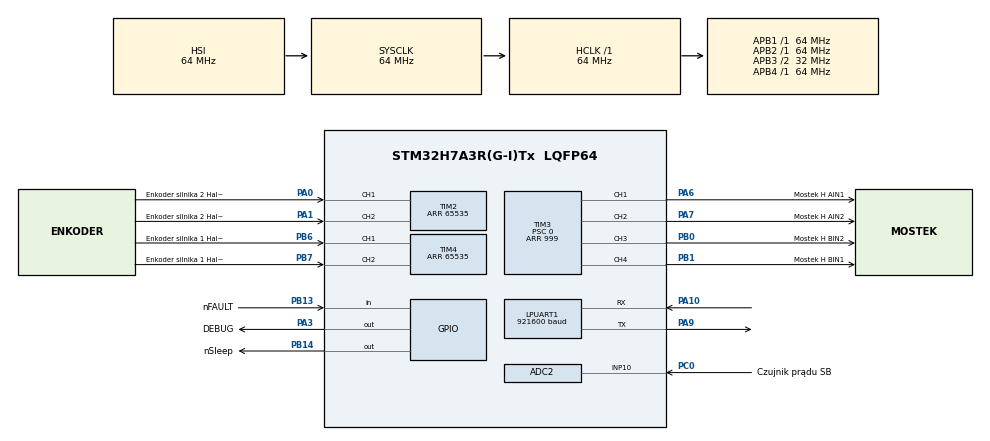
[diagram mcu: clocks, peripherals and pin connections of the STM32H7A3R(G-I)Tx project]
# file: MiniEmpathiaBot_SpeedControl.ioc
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ADC2.Channel-0\#ChannelRegularConversion=ADC_CHANNEL_10
ADC2.ClockPrescaler=ADC_CLOCK_ASYNC_DIV1
ADC2.ContinuousConvMode=DISABLE
ADC2.ConversionDataManagement=ADC_CONVERSIONDATA_DMA_CIRCULAR
ADC2.ExternalTrigConv=ADC_EXTERNALTRIG_T15_TRGO
ADC2.NbrOfConversionFlag=1
ADC2.OversamplingMode=ENABLE
ADC2.Ratio=16
ARM.CMSIS.5.7.0.CMSISJjCORE=true
ARM.CMSIS.5.7.0.CMSISJjDSP=Library
Dma.ADC2.0.Direction=DMA_PERIPH_TO_MEMORY
Dma.ADC2.0.EventEnable=DISABLE
Dma.ADC2.0.FIFOMode=DMA_FIFOMODE_DISABLE
Dma.ADC2.0.Instance=DMA1_Stream0
Dma.ADC2.0.MemDataAlignment=DMA_MDATAALIGN_WORD
Dma.ADC2.0.MemInc=DMA_MINC_ENABLE
Dma.ADC2.0.Mode=DMA_CIRCULAR
Dma.ADC2.0.PeriphDataAlignment=DMA_PDATAALIGN_WORD
Dma.ADC2.0.PeriphInc=DMA_PINC_DISABLE
Dma.ADC2.0.Polarity=HAL_DMAMUX_REQ_GEN_RISING
Dma.ADC2.0.Priority=DMA_PRIORITY_LOW
Dma.ADC2.0.RequestNumber=1
Dma.ADC2.0.SignalID=NONE
Dma.ADC2.0.SyncEnable=DISABLE
Dma.ADC2.0.SyncPolarity=HAL_DMAMUX_SYNC_NO_EVENT
Dma.ADC2.0.SyncRequestNumber=1
Dma.ADC2.0.SyncSignalID=NONE
Dma.Request0=ADC2
LPUART1.BaudRate=921600
Mcu.Family=STM32H7
Mcu.Name=STM32H7A3R(G-I)Tx
Mcu.Package=LQFP64
NVIC.DMA1_Stream0_IRQn=true\:0\:0\:false\:false\:true\:false\:true\:true
NVIC.LPUART1_IRQn=true\:0\:0\:false\:false\:true\:true\:true\:true
NVIC.PriorityGroup=NVIC_PRIORITYGROUP_4
NVIC.TIM15_IRQn=true\:0\:0\:false\:false\:true\:true\:true\:true
PA0.GPIO_Label=Enkoder silnika 2 Hall 1
PA0.Signal=S_TIM2_CH1_ETR
PA1.GPIO_Label=Enkoder silnika 2 Hall 2
PA1.Signal=S_TIM2_CH2
PA10.Mode=Asynchronous
PA10.Signal=LPUART1_RX
PA3.GPIO_Label=DEBUG
PA3.GPIO_Speed=GPIO_SPEED_FREQ_MEDIUM
PA3.Signal=GPIO_Output
PA6.GPIO_Label=Mostek H AIN1
PA6.Signal=S_TIM3_CH1
PA7.GPIO_Label=Mostek H AIN2
PA7.Signal=S_TIM3_CH2
PA8.Signal=I2C3_SCL
PA9.Mode=Asynchronous
PA9.Signal=LPUART1_TX
PB0.GPIO_Label=Mostek H BIN2
PB0.Signal=S_TIM3_CH3
PB1.GPIO_Label=Mostek H BIN1
PB1.Signal=S_TIM3_CH4
PB13.GPIO_Label=nFAULT
PB13.GPIO_PuPd=GPIO_PULLUP
PB13.Signal=GPIO_Input
PB14.GPIO_Label=nSleep
PB14.Signal=GPIO_Output
PB6.GPIO_Label=Enkoder silnika 1 Hall 1
PB6.Signal=S_TIM4_CH1
PB7.GPIO_Label=Enkoder silnika 1 Hall 2
PB7.Signal=S_TIM4_CH2
PC0.GPIO_Label=Czujnik pr\u0105du SB
PC0.Signal=ADCx_INP10
PC1.GPIO_Label=Czujnik pr\u0105du SA
PC1.Signal=ADCx_INP11
PC9.Signal=I2C3_SDA
ProjectManager.HeapSize=0x200
ProjectManager.StackSize=0x400
ProjectManager.TargetToolchain=STM32CubeIDE
RCC.ADCFreq_Value=50000000
RCC.APB1Freq_Value=64000000
RCC.APB2Freq_Value=64000000
RCC.APB3Freq_Value=32000000
RCC.APB4Freq_Value=64000000
RCC.CDPPRE=RCC_APB3_DIV2
RCC.CortexFreq_Value=64000000
RCC.DIVM2=16
RCC.DIVN2=50
RCC.DIVP2=4
RCC.HCLKFreq_Value=64000000
RCC.SYSCLKFreq_VALUE=64000000
RCC.USBFreq_Value=129000000
SH.ADCx_INP10.0=ADC2_INP10,IN10-Single-Ended
SH.ADCx_INP11.0=ADC1_INP11
SH.S_TIM2_CH1_ETR.0=TIM2_CH1,Encoder_Interface
SH.S_TIM2_CH2.0=TIM2_CH2,Encoder_Interface
SH.S_TIM3_CH1.0=TIM3_CH1,PWM Generation1 CH1
SH.S_TIM3_CH2.0=TIM3_CH2,PWM Generation2 CH2
SH.S_TIM3_CH3.0=TIM3_CH3,PWM Generation3 CH3
SH.S_TIM3_CH4.0=TIM3_CH4,PWM Generation4 CH4
SH.S_TIM4_CH1.0=TIM4_CH1,Encoder_Interface
SH.S_TIM4_CH2.0=TIM4_CH2,Encoder_Interface
TIM15.Period=9999
TIM15.Prescaler=63
TIM15.TIM_MasterOutputTrigger=TIM_TRGO_UPDATE
TIM2.EncoderMode=TIM_ENCODERMODE_TI12
TIM2.IC1Filter=1
TIM2.IC2Filter=1
TIM2.Period=65535
TIM3.AutoReloadPreload=TIM_AUTORELOAD_PRELOAD_ENABLE
TIM3.Channel-PWM\ Generation1\ CH1=TIM_CHANNEL_1
TIM3.Channel-PWM\ Generation2\ CH2=TIM_CHANNEL_2
TIM3.Channel-PWM\ Generation3\ CH3=TIM_CHANNEL_3
TIM3.Channel-PWM\ Generation4\ CH4=TIM_CHANNEL_4
TIM3.Period=999
TIM3.Prescaler=0
TIM4.EncoderMode=TIM_ENCODERMODE_TI12
TIM4.IC1Filter=15
TIM4.IC2Filter=15
TIM4.Period=65535
VP_ARM.CMSIS_VS_CMSISJjCORE_5.4.0_5.7.0.Mode=CMSISJjCORE
VP_ARM.CMSIS_VS_CMSISJjDSP_1.8.0_5.7.0.Mode=CMSISJjDSP
VP_TIM15_VS_ClockSourceINT.Mode=Internal
VP_TIM3_VS_ClockSourceINT.Mode=Internal
VP_VREFBUF_OUT.Mode=InternalMode
VREFBUF.TrimmingMode=__NULL
VREFBUF.VoltageScaling=SYSCFG_VREFBUF_VOLTAGE_SCALE0
board=custom

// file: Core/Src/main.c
/* USER CODE BEGIN Header */
/**
  ******************************************************************************
  * @file           : main.c
  * @brief          : Main program body
  ******************************************************************************
  * @attention
  *
  * Copyright (c) 2024 STMicroelectronics.
  * All rights reserved.
  *
  * This software is licensed under terms that can be found in the LICENSE file
  * in the root directory of this software component.
  * If no LICENSE file comes with this software, it is provided AS-IS.
  *
  ******************************************************************************
  */
/* USER CODE END Header */
#include "main.h"
#include "adc.h"
#include "dma.h"
#include "usart.h"
#include "tim.h"
#include "gpio.h"

/* USER CODE BEGIN Includes */
#include <stdio.h>
#include <stdlib.h>
#include "drv8833.h"
#include "enc_inc.h"
#include "enc_A_LPF_biquad_df1.h"
#include "enc_B_LPF_biquad_df1.h"
#include "pid_controller.h"
/* USER CODE END Includes */

/* USER CODE BEGIN PD */
#define DATA_LOGGING_ENABLED
/* USER CODE END PD */

/* USER CODE BEGIN PV */
#ifdef DATA_LOGGING_ENABLED
_Bool send_data = 0;
uint32_t i = 0;
#define i_max 1000
float UART_DATA[i_max][4];
#endif

DRV8833_TypeDef hdrv8833 = {
    .AIN_1 = PWM_INIT_HANDLE(&htim3, TIM_CHANNEL_1),
    .AIN_2 = PWM_INIT_HANDLE(&htim3, TIM_CHANNEL_2),
    .BIN_1 = PWM_INIT_HANDLE(&htim3, TIM_CHANNEL_3),
    .BIN_2 = PWM_INIT_HANDLE(&htim3, TIM_CHANNEL_4)
};

float duty_A = 0;
float duty_B = 0;

ENC_INC_Handle_TypeDef henc_A = {
    .Encoder = &htim4, .Channel = TIM_CHANNEL_ALL,
    .Counter = 0, .CounterPrev = 0, .CounterDiff = 0,
    .Ts = 0.01 /* 10 ms */, .ppr  = 12
};

float w_A = 0; // [rad/s]
float wf_A = 0; // [rad/s]

ENC_INC_Handle_TypeDef henc_B = {
    .Encoder = &htim2, .Channel = TIM_CHANNEL_ALL,
    .Counter = 0, .CounterPrev = 0, .CounterDiff = 0,
    .Ts = 0.01 /* 10 ms */, .ppr  = 12
};

float w_B = 0;  // [rad/s]
float wf_B = 0; // [rad/s]

PID_HandleTypeDef hpid_A = {
    .Kp = 0.0, .Ki = 0.5, .Kd = 0, .N = 1, .Ts = 0.01,
    .LimitLower = -100, .LimitUpper = 100
};

float w_A_ref = 0;

PID_HandleTypeDef hpid_B = {
    .Kp = 0.0, .Ki = 0.5, .Kd = 0, .N = 1, .Ts = 0.01,
    .LimitLower = -100, .LimitUpper = 100
};

float w_B_ref = 0;

unsigned char RxMsg[32];
unsigned int RxMsgLen = 4;
/* USER CODE END PV */

void SystemClock_Config(void);

/* USER CODE BEGIN 0 */

/**
  * @brief  Period elapsed callback in non-blocking mode
  * @param  htim TIM handle
  * @retval None
  */
void HAL_TIM_PeriodElapsedCallback(TIM_HandleTypeDef *htim)
{
  if(htim == &htim15)
  {
    w_A =  ENC_INC_Update(&henc_A);
    arm_biquad_cascade_df1_f32(&enc_A_LPF, &w_A, &wf_A, ENC_A_LPF_BLOCK_SIZE);
    duty_A = PID_GetOutput(&hpid_A, w_A_ref, wf_A);
    drv8833_speed_change(&hdrv8833, A, duty_A);

    w_B = -ENC_INC_Update(&henc_B);
    arm_biquad_cascade_df1_f32(&enc_B_LPF, &w_B, &wf_B, ENC_B_LPF_BLOCK_SIZE);
    duty_B = PID_GetOutput(&hpid_B, w_B_ref, wf_B);
    drv8833_speed_change(&hdrv8833, B, duty_B);

#ifdef DATA_LOGGING_ENABLED
    if(i < i_max)
    {
      UART_DATA[i][0] = duty_A;
      UART_DATA[i][1] = w_A;
      UART_DATA[i][2] = wf_A;
      UART_DATA[i][3] = duty_B;
      UART_DATA[i][4] = w_B;
      UART_DATA[i][5] = wf_B;
      i++;
    }
#endif

  }
}

/**
  * @brief  Rx Transfer completed callback.
  * @param  huart UART handle.
  * @retval None
  */
void HAL_UART_RxCpltCallback(UART_HandleTypeDef *huart)
{
  if(huart == &hlpuart1)
  {
    w_A_ref = w_B_ref = atoi((char*)RxMsg);
    HAL_UART_Receive_IT(&hlpuart1, RxMsg, RxMsgLen);
  }
}

/* USER CODE END 0 */

int main(void)
{

  /* MCU Configuration--------------------------------------------------------*/

  /* Reset of all peripherals, Initializes the Flash interface and the Systick. */
  HAL_Init();

  /* Configure the system clock */
  SystemClock_Config();

  /* Initialize all configured peripherals */
  MX_GPIO_Init();
  MX_DMA_Init();
  MX_LPUART1_UART_Init();
  MX_TIM3_Init();
  MX_TIM4_Init();
  MX_ADC2_Init();
  MX_TIM2_Init();
  MX_TIM15_Init();
  /* USER CODE BEGIN 2 */
  drv8833_init(&hdrv8833);
  drv8833_start(&hdrv8833);

  PID_Init(&hpid_A);
  arm_biquad_cascade_df1_init_f32(&enc_A_LPF, ENC_A_LPF_NUM_STAGES, enc_A_LPF_COEFFS, enc_A_LPF_STATE);
  ENC_INC_Init(&henc_A);

  arm_biquad_cascade_df1_init_f32(&enc_B_LPF, ENC_B_LPF_NUM_STAGES, enc_B_LPF_COEFFS, enc_B_LPF_STATE);
  ENC_INC_Init(&henc_B);

  HAL_TIM_Base_Start_IT(&htim15);
  HAL_UART_Receive_IT(&hlpuart1, RxMsg, RxMsgLen);
  /* USER CODE END 2 */

  /* Infinite loop */
  /* USER CODE BEGIN WHILE */
  while (1)
  {
#ifdef DATA_LOGGING_ENABLED
	  if(send_data)
	  {
	    char buf[1024];
      int s = sprintf(buf, "dA, wA, wfA, dB, wB, wfB, \r\n");
      HAL_UART_Transmit(&hlpuart1, (unsigned char*)buf, s, 100);
	    for(int d = 0; d < i_max; d++)
	    {
	      int s = sprintf(buf, "%f, %f, %f, %f, %f, %f \r\n", UART_DATA[d][0], UART_DATA[d][1], UART_DATA[d][2], UART_DATA[d][3], UART_DATA[d][4], UART_DATA[d][5]);
	      HAL_UART_Transmit(&hlpuart1, (unsigned char*)buf, s, 100);
	      HAL_Delay(100);
	    }
	  }
#endif
    /* USER CODE END WHILE */

  }
}

void SystemClock_Config(void)
{
  RCC_OscInitTypeDef RCC_OscInitStruct = {0};
  RCC_ClkInitTypeDef RCC_ClkInitStruct = {0};

  /*AXI clock gating */
  RCC->CKGAENR = 0xFFFFFFFF;

  /** Supply configuration update enable
  */
  HAL_PWREx_ConfigSupply(PWR_LDO_SUPPLY);

  /** Configure the main internal regulator output voltage
  */
  __HAL_PWR_VOLTAGESCALING_CONFIG(PWR_REGULATOR_VOLTAGE_SCALE3);

  while(!__HAL_PWR_GET_FLAG(PWR_FLAG_VOSRDY)) {}

  /** Macro to configure the PLL clock source
  */
  __HAL_RCC_PLL_PLLSOURCE_CONFIG(RCC_PLLSOURCE_HSI);

  /** Initializes the RCC Oscillators according to the specified parameters
  * in the RCC_OscInitTypeDef structure.
  */
  RCC_OscInitStruct.OscillatorType = RCC_OSCILLATORTYPE_HSI;
  RCC_OscInitStruct.HSIState = RCC_HSI_DIV1;
  RCC_OscInitStruct.HSICalibrationValue = 64;
  RCC_OscInitStruct.PLL.PLLState = RCC_PLL_NONE;
  if (HAL_RCC_OscConfig(&RCC_OscInitStruct) != HAL_OK)
  {
    Error_Handler();
  }

  /** Initializes the CPU, AHB and APB buses clocks
  */
  RCC_ClkInitStruct.ClockType = RCC_CLOCKTYPE_HCLK|RCC_CLOCKTYPE_SYSCLK
                              |RCC_CLOCKTYPE_PCLK1|RCC_CLOCKTYPE_PCLK2
                              |RCC_CLOCKTYPE_D3PCLK1|RCC_CLOCKTYPE_D1PCLK1;
  RCC_ClkInitStruct.SYSCLKSource = RCC_SYSCLKSOURCE_HSI;
  RCC_ClkInitStruct.SYSCLKDivider = RCC_SYSCLK_DIV1;
  RCC_ClkInitStruct.AHBCLKDivider = RCC_HCLK_DIV1;
  RCC_ClkInitStruct.APB3CLKDivider = RCC_APB3_DIV2;
  RCC_ClkInitStruct.APB1CLKDivider = RCC_APB1_DIV1;
  RCC_ClkInitStruct.APB2CLKDivider = RCC_APB2_DIV1;
  RCC_ClkInitStruct.APB4CLKDivider = RCC_APB4_DIV1;

  if (HAL_RCC_ClockConfig(&RCC_ClkInitStruct, FLASH_LATENCY_2) != HAL_OK)
  {
    Error_Handler();
  }
}

void Error_Handler(void)
{
  __disable_irq();
  while (1)
  {
  }
}
